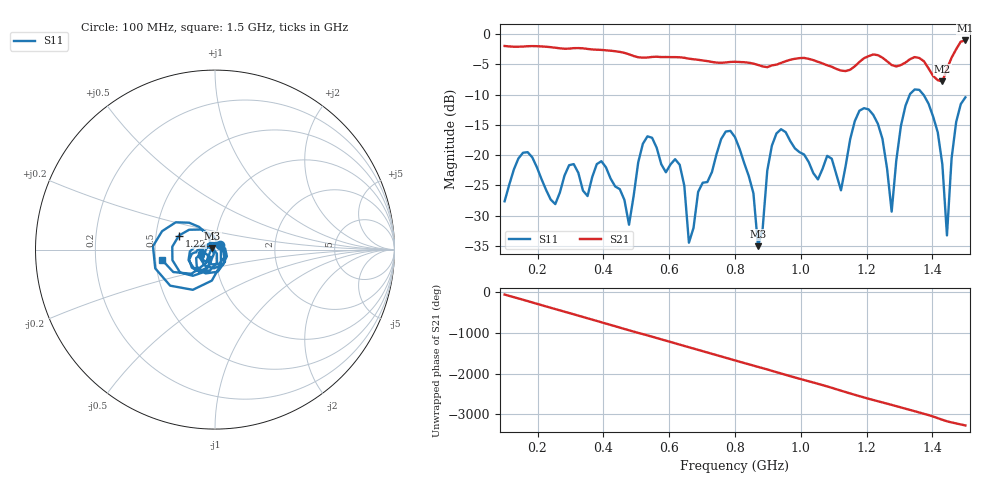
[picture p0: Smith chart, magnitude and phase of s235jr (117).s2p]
! NanoVNA-App
! Date: 2025-09-26 09:45:42
! Start: 100MHz Stop: 1,5GHz Points: 101
! S-Parameter data: F S11 S21 S12 S22
# Hz S RI R 50
!  Frequency  S11_Real  S11_Imag  S21_Real  S21_Imag  S12_Real  S12_Imag  S22_Real  S22_Imag
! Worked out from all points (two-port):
!   101 points, 100 MHz to 1.5 GHz, reference 50 ohm
!   highest |S21| = -1.04 dB at 1.5 GHz (marker M1); lowest = -7.8 dB at 1.43 GHz (marker M2)
!   |S21| within 3 dB of the highest: start of sweep to 658.3 MHz; 1.19 GHz to 1.252 GHz (61.15 MHz wide, 5.01 % of centre) (the widest 2 of 5)
!   lowest |S11| = -35.1 dB at 870 MHz (marker M3), VSWR 1.04, Z = 48.5 + j0.94 ohm
!   |S11| at or under -10 dB: start of sweep to 1.331 GHz; 1.372 GHz to end of sweep
!   S12 and S22 are empty: the file has one direction only
!   S11 on the Smith chart (normalised r, x): 100 MHz: 1.06, +0.06; 1.22 GHz: 0.66, +0.11; 1.5 GHz: 0.54, -0.07
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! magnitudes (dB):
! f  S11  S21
! 100 MHz  -27.6  -2.0
! 156 MHz  -19.6  -2.1
! 338 MHz  -25.9  -2.3
! 394 MHz  -21.0  -2.6
! 478 MHz  -31.5  -3.3
! 520 MHz  -18.1  -3.9
! 576 MHz  -21.5  -3.8
! 632 MHz  -21.6  -3.8
! 660 MHz  -34.5  -4.1
! 800 MHz  -17.0  -4.6
! 870 MHz  -35.1  -5.1
! 926 MHz  -16.4  -5.0
! 1.038 GHz  -23.0  -4.3
! 1.122 GHz  -25.8  -6.0
! 1.164 GHz  -14.4  -5.3
! 1.22 GHz  -13.3  -3.4
! 1.276 GHz  -29.4  -5.1
! 1.346 GHz  -9.1  -3.8
! 1.43 GHz  -21.5  -7.8
! 1.444 GHz  -33.3  -5.7
! 1.472 GHz  -14.5  -2.5
! 1.5 GHz  -10.4  -1.0
